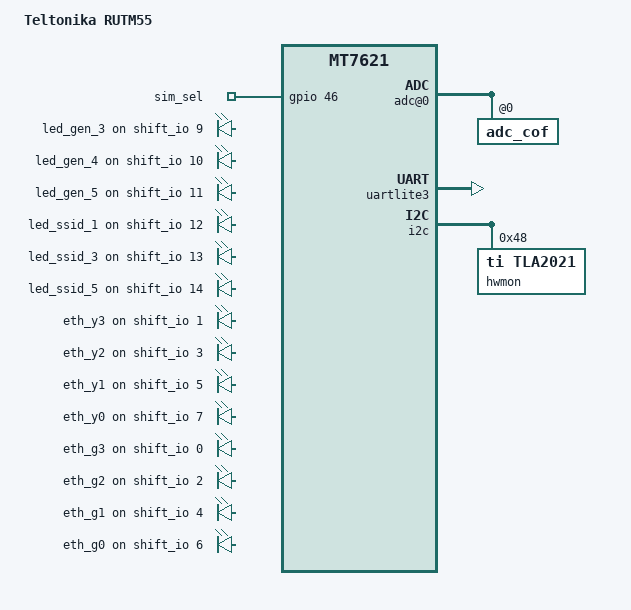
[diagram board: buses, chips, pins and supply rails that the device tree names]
#include "common-mt7621/rutm.dtsi"
#include "common-mt7621/shiftreg.dtsi"
#include "common-mt7621/tpm-tis.dtsi"
#include "common-mt7621/modem/5g.dtsi"

// PWR, RST       |G0|G10|
// IN, OUT, ISOL  |G12|G16|G18|S15|
// SR CTRL        |G9|G13|G44|G45|
// ETH            |S0-S7|
// 5G		      |G14|G17|G46|S9-G14|
// MISC           |S8|
/ {
	model = "Teltonika RUTM55";

	ext_io {
		gpio-mosi = <&gpio 13 GPIO_ACTIVE_HIGH>;
		cs-gpios = <&gpio 45 GPIO_ACTIVE_HIGH>;
	};

	gpio-export {
		compatible = "gpio-export";
		#size-cells = <0>;

		gpio_sim_select {
			gpio-export,name = "sim_sel";
			gpio-export,output = <1>;
			gpios = <&gpio 46 GPIO_ACTIVE_HIGH>;
		};
	};

	leds {
		led_gen_3 {
			gpios = <&shift_io 9 GPIO_ACTIVE_HIGH>;
		};

		led_gen_4 {
			gpios = <&shift_io 10 GPIO_ACTIVE_HIGH>;
		};

		led_gen_5 {
			gpios = <&shift_io 11 GPIO_ACTIVE_HIGH>;
		};

		led_ssid_1 {
			gpios = <&shift_io 12 GPIO_ACTIVE_HIGH>;
		};

		led_ssid_3 {
			gpios = <&shift_io 13 GPIO_ACTIVE_HIGH>;
		};

		led_ssid_5 {
			gpios = <&shift_io 14 GPIO_ACTIVE_HIGH>;
		};

		led_eth_y3 {
			label = "eth_y3";
			gpios = <&shift_io 1 GPIO_ACTIVE_HIGH>;
		};

		led_eth_y2 {
			label = "eth_y2";
			gpios = <&shift_io 3 GPIO_ACTIVE_HIGH>;
		};

		led_eth_y1 {
			label = "eth_y1";
			gpios = <&shift_io 5 GPIO_ACTIVE_HIGH>;
		};

		led_eth_y0 {
			label = "eth_y0";
			gpios = <&shift_io 7 GPIO_ACTIVE_HIGH>;
		};

		led_eth_g3 {
			label = "eth_g3";
			gpios = <&shift_io 0 GPIO_ACTIVE_HIGH>;
		};

		led_eth_g2 {
			label = "eth_g2";
			gpios = <&shift_io 2 GPIO_ACTIVE_HIGH>;
		};

		led_eth_g1 {
			label = "eth_g1";
			gpios = <&shift_io 4 GPIO_ACTIVE_HIGH>;
		};

		led_eth_g0 {
			label = "eth_g0";
			gpios = <&shift_io 6 GPIO_ACTIVE_HIGH>;
		};
	};

	tlt_gpios {
		ioman {
			GPIO_16 {
				line_name = "GPIO_IN_1";
				active_low;
			};
			GPIO_111 {
				line_name = "GPIO_OUT_1";
			};
			GPIO_18 {
				line_name = "GPIO_ISOLATED_INPUT";
				active_low;
			};
			GPIO_12 {
				line_name = "GPIO_RELAY_CLOSE_1";
			};
		};

		misc {
			GPIO_46 {
				line_name = "GPIO_SIM_SELECT";
			};
			GPIO_104 {
				line_name = "GPIO_RS485_RX_EN";
			};
		};
	};

	ioman {
		layout@0 {
			io@0 { // 16pin#1
				label = "din1";
				block_type = BLOCK_16PIN;
				block_pin = "1";
				web_str = "Digital Input";
				gpio_in = "GPIO_IN_1";
				io_param = "g2";
			};
			io@1 { // 16pin#2
				label = "iio";
				block_type = BLOCK_16PIN;
				block_pin = "2,10";
				gpio_in = "GPIO_ISOLATED_INPUT";
				io_param = "g3";
			};
			io@2 { // 16pin#3
				label = "dout1";
				block_type = BLOCK_16PIN;
				block_pin = "3,4,11";
				web_str = "Isolated Output";
				gpio_out = "GPIO_OUT_1";
				io_param = "g4";
			};
			relay@0 {
				label = "relay0";
				block_type = BLOCK_16PIN;
				block_pin = "5,13";
				gpio_close = "GPIO_RELAY_CLOSE_1";
				io_param = "g5";
			};
			adc@0 {
				label = "adc0";
				block_type = BLOCK_16PIN;
				block_pin = "12";
				tolerance = "0.05";
				path = "/sys/class/hwmon/hwmon0/in0_input";
				io_param = "g1";

				adc_cof@0 {
					divider = "128.160418482999"; //147.0 / 1147.0 * 1000.0
				};
			};
			acl@0 {
				label = "acl0";
				block_type = BLOCK_16PIN;
				block_pin = "12";
				tolerance = "0.00004";
				path = "/sys/class/hwmon/hwmon0/in0_input";
				io_param = "g0";

				adc_cof@0 {
					divider = "153792.502179599"; //147.0 / 1147.0 * 1000.0 * 1200.0
				};
			};
		};
	};
};

&state_default {
	gpio {
		groups = "wdt", "jtag", "sdhci", "uart2";
	};
};

&switch0 {
	ports {
		port@0 {
			status = "okay";
			label = "lan1";
		};

		port@1 {
			status = "okay";
			label = "lan2";
		};

		port@2 {
			status = "okay";
			label = "lan3";
		};
	};
};

&mnfinfo {
	sim_cfg {
		default = "1111200_1112000_1121100";
		/*default = "1111020_1112020";*/
	};
};

&uartlite3 {
	status = "okay";
};

&i2c {
	hwmon@0x48 {
		compatible = "ti,tla2021";
		reg = <0x48>;
	};
};
